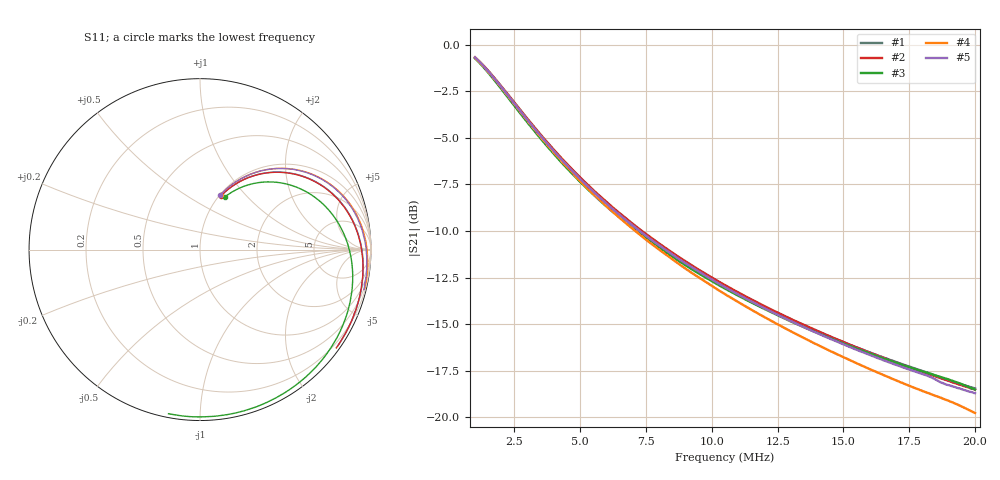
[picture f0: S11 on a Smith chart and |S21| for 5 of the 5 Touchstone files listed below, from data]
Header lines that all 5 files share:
# HZ S RI R 50
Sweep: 1 MHz to 20 MHz
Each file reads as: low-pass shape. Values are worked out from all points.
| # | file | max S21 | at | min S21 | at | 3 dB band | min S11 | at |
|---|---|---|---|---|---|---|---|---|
| 1 | coil+dee(serial)_1_20_02_13_dee_to_port1(2).s2p | -0.69 dB | 1 MHz | -18.5 dB | 20 MHz | 1 MHz-2.757 MHz | -9.3 dB | 1 MHz |
| 2 | coil+dee(serial)_1_20_02_13_dee_to_port1.s2p | -0.67 dB | 1 MHz | -18.5 dB | 20 MHz | 1 MHz-2.805 MHz | -9.5 dB | 1 MHz |
| 3 | coil+dee(serial)_dee_to_port1.s2p | -0.73 dB | 1 MHz | -18.5 dB | 20 MHz | 1 MHz-2.71 MHz | -9.3 dB | 1 MHz |
| 4 | coil+dee(serial)_dee_to_port2.s2p | -0.71 dB | 1 MHz | -19.8 dB | 20 MHz | 1 MHz-2.757 MHz | -9.3 dB | 1 MHz |
| 5 | coil+dee(serial)_dee_to_port2_1-20MHz_dee-to-port2.s2p | -0.68 dB | 1 MHz | -18.7 dB | 20 MHz | 1 MHz-2.757 MHz | -9.3 dB | 1 MHz |
